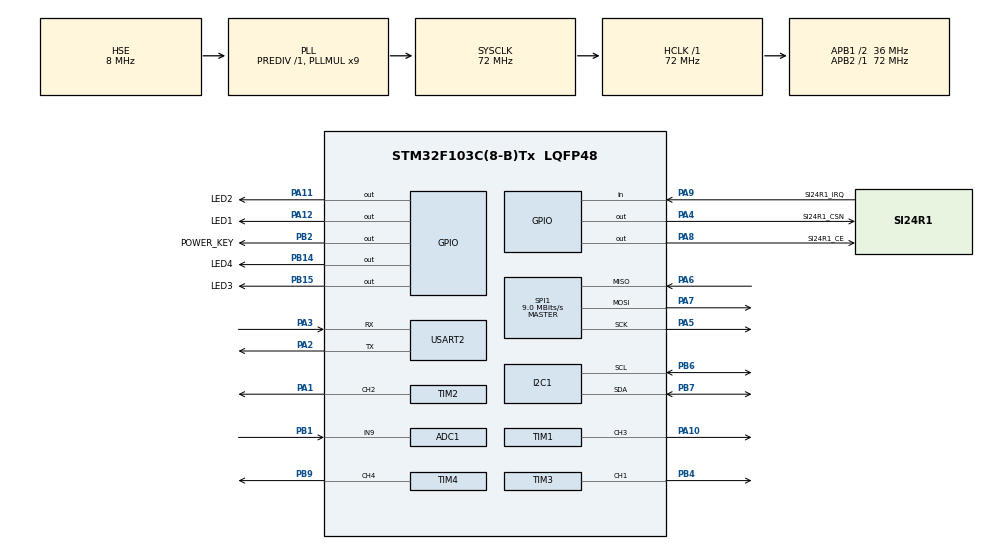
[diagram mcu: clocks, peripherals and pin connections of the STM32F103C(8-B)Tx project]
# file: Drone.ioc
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ADC1.Channel-0\#ChannelRegularConversion=ADC_CHANNEL_9
ADC1.ContinuousConvMode=ENABLE
ADC1.NbrOfConversionFlag=1
ADC1.Rank-0\#ChannelRegularConversion=1
ADC1.SamplingTime-0\#ChannelRegularConversion=ADC_SAMPLETIME_1CYCLE_5
ADC1.master=1
Dma.ADC1.0.Direction=DMA_PERIPH_TO_MEMORY
Dma.ADC1.0.Instance=DMA1_Channel1
Dma.ADC1.0.MemDataAlignment=DMA_MDATAALIGN_HALFWORD
Dma.ADC1.0.MemInc=DMA_MINC_ENABLE
Dma.ADC1.0.Mode=DMA_CIRCULAR
Dma.ADC1.0.PeriphDataAlignment=DMA_PDATAALIGN_HALFWORD
Dma.ADC1.0.PeriphInc=DMA_PINC_DISABLE
Dma.ADC1.0.Priority=DMA_PRIORITY_MEDIUM
Dma.Request0=ADC1
I2C1.I2C_Mode=I2C_Fast
Mcu.Family=STM32F1
Mcu.Name=STM32F103C(8-B)Tx
Mcu.Package=LQFP48
NVIC.PriorityGroup=NVIC_PRIORITYGROUP_4
PA1.Signal=S_TIM2_CH2
PA10.Signal=S_TIM1_CH3
PA11.GPIO_Label=LED2
PA11.GPIO_Speed=GPIO_SPEED_FREQ_HIGH
PA11.PinState=GPIO_PIN_SET
PA11.Signal=GPIO_Output
PA12.GPIO_Label=LED1
PA12.GPIO_Speed=GPIO_SPEED_FREQ_HIGH
PA12.PinState=GPIO_PIN_SET
PA12.Signal=GPIO_Output
PA13.Mode=Serial_Wire
PA13.Signal=SYS_JTMS-SWDIO
PA14.Mode=Serial_Wire
PA14.Signal=SYS_JTCK-SWCLK
PA2.Mode=Asynchronous
PA2.Signal=USART2_TX
PA3.Mode=Asynchronous
PA3.Signal=USART2_RX
PA4.GPIO_Label=SI24R1_CSN
PA4.GPIO_Speed=GPIO_SPEED_FREQ_HIGH
PA4.PinState=GPIO_PIN_SET
PA4.Signal=GPIO_Output
PA5.Mode=Full_Duplex_Master
PA5.Signal=SPI1_SCK
PA6.Mode=Full_Duplex_Master
PA6.Signal=SPI1_MISO
PA7.Mode=Full_Duplex_Master
PA7.Signal=SPI1_MOSI
PA8.GPIO_Label=SI24R1_CE
PA8.GPIO_Speed=GPIO_SPEED_FREQ_HIGH
PA8.PinState=GPIO_PIN_RESET
PA8.Signal=GPIO_Output
PA9.GPIO_Label=SI24R1_IRQ
PA9.GPIO_PuPd=GPIO_PULLUP
PA9.Signal=GPIO_Input
PB1.Signal=ADCx_IN9
PB14.GPIO_Label=LED4
PB14.GPIO_Speed=GPIO_SPEED_FREQ_HIGH
PB14.PinState=GPIO_PIN_SET
PB14.Signal=GPIO_Output
PB15.GPIO_Label=LED3
PB15.GPIO_Speed=GPIO_SPEED_FREQ_HIGH
PB15.PinState=GPIO_PIN_SET
PB15.Signal=GPIO_Output
PB2.GPIO_Label=POWER_KEY
PB2.GPIO_ModeDefaultOutputPP=GPIO_MODE_OUTPUT_OD
PB2.GPIO_PuPd=GPIO_NOPULL
PB2.GPIO_Speed=GPIO_SPEED_FREQ_HIGH
PB2.PinState=GPIO_PIN_SET
PB2.Signal=GPIO_Output
PB4.Signal=S_TIM3_CH1
PB6.Mode=I2C
PB6.Signal=I2C1_SCL
PB7.Mode=I2C
PB7.Signal=I2C1_SDA
PB9.Signal=S_TIM4_CH4
PD0-OSC_IN.Mode=HSE-External-Oscillator
PD0-OSC_IN.Signal=RCC_OSC_IN
PD1-OSC_OUT.Mode=HSE-External-Oscillator
PD1-OSC_OUT.Signal=RCC_OSC_OUT
ProjectManager.HeapSize=0x200
ProjectManager.StackSize=0x400
ProjectManager.TargetToolchain=MDK-ARM V5.32
RCC.ADCPresc=RCC_ADCPCLK2_DIV6
RCC.AHBFreq_Value=72000000
RCC.APB1CLKDivider=RCC_HCLK_DIV2
RCC.APB1Freq_Value=36000000
RCC.APB1TimFreq_Value=72000000
RCC.APB2Freq_Value=72000000
RCC.APB2TimFreq_Value=72000000
RCC.HCLKFreq_Value=72000000
RCC.PLLMUL=RCC_PLL_MUL9
RCC.PLLSourceVirtual=RCC_PLLSOURCE_HSE
RCC.SYSCLKFreq_VALUE=72000000
RCC.SYSCLKSource=RCC_SYSCLKSOURCE_PLLCLK
RCC.USBFreq_Value=72000000
SH.ADCx_IN9.0=ADC1_IN9,IN9
SH.S_TIM1_CH3.0=TIM1_CH3,PWM Generation3 CH3
SH.S_TIM2_CH2.0=TIM2_CH2,PWM Generation2 CH2
SH.S_TIM3_CH1.0=TIM3_CH1,PWM Generation1 CH1
SH.S_TIM4_CH4.0=TIM4_CH4,PWM Generation4 CH4
SPI1.BaudRatePrescaler=SPI_BAUDRATEPRESCALER_8
SPI1.CalculateBaudRate=9.0 MBits/s
SPI1.Direction=SPI_DIRECTION_2LINES
SPI1.Mode=SPI_MODE_MASTER
SPI1.VirtualType=VM_MASTER
TIM1.Channel-PWM\ Generation3\ CH3=TIM_CHANNEL_3
TIM1.OCPolarity_3=TIM_OCPOLARITY_HIGH
TIM1.Period=1000-1
TIM1.Prescaler=4-1
TIM2.Channel-PWM\ Generation2\ CH2=TIM_CHANNEL_2
TIM2.Period=1000-1
TIM2.Prescaler=4-1
TIM3.Channel-PWM\ Generation1\ CH1=TIM_CHANNEL_1
TIM3.Period=1000-1
TIM3.Prescaler=4-1
TIM4.Channel-PWM\ Generation4\ CH4=TIM_CHANNEL_4
TIM4.Period=1000-1
TIM4.Prescaler=4-1
USART2.VirtualMode=VM_ASYNC
VP_TIM1_VS_ClockSourceINT.Mode=Internal
board=custom

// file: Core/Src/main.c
/* USER CODE BEGIN Header */
/**
 ******************************************************************************
 * @file           : main.c
 * @brief          : Main program body
 ******************************************************************************
 * @attention
 *
 * Copyright (c) 2024 STMicroelectronics.
 * All rights reserved.
 *
 * This software is licensed under terms that can be found in the LICENSE file
 * in the root directory of this software component.
 * If no LICENSE file comes with this software, it is provided AS-IS.
 *
 ******************************************************************************
 */
/* USER CODE END Header */
#include "main.h"
#include "adc.h"
#include "dma.h"
#include "gpio.h"
#include "i2c.h"
#include "spi.h"
#include "tim.h"
#include "usart.h"

/* USER CODE BEGIN Includes */
#include "App_Flight.h"
#include "Com_IMU.h"
#include "Com_Logger.h"
#include "Int_IP5305T.h"
#include "Int_MPU6050.h"
#include "Int_Si24R1.h"
#include "string.h"
#include "App_Task.h"
/* USER CODE END Includes */

/* USER CODE BEGIN PV */
uint16_t batteryAdcValue;
/* USER CODE END PV */

void SystemClock_Config(void);

int main(void) {

    /* MCU Configuration--------------------------------------------------------*/

    /* Reset of all peripherals, Initializes the Flash interface and the Systick. */
    HAL_Init();

    /* Configure the system clock */
    SystemClock_Config();

    /* Initialize all configured peripherals */
    MX_GPIO_Init();
    MX_DMA_Init();
    MX_TIM1_Init();
    MX_TIM2_Init();
    MX_TIM3_Init();
    MX_TIM4_Init();
    MX_USART2_UART_Init();
    MX_ADC1_Init();
    MX_I2C1_Init();
    MX_SPI1_Init();
    /* USER CODE BEGIN 2 */
    Int_MPU6050_Init();
    App_Flight_MPUCalibrate();

    HAL_TIM_PWM_Start(&htim3, TIM_CHANNEL_1); // LEFT-0
    HAL_TIM_PWM_Start(&htim2, TIM_CHANNEL_2); // RIGHT-0
    HAL_TIM_PWM_Start(&htim4, TIM_CHANNEL_4); // LEFT-1
    HAL_TIM_PWM_Start(&htim1, TIM_CHANNEL_3); // RIGHT-1

    Int_SI24R1_Check();
    Int_SI24R1_InitRxMode();
    ledState.state = WARNING;

    FreeRTOS_Start();

    // LOG_DEBUG("before start adc with dma")
    // HAL_ADC_Start_DMA(&hadc1, (uint32_t *)&batteryAdcValue, 1);
    // LOG_DEBUG("after start adc with dma")

    // __HAL_TIM_SetCompare(&htim3, TIM_CHANNEL_1, 50);
    // __HAL_TIM_SetCompare(&htim2, TIM_CHANNEL_2, 50);
    // __HAL_TIM_SetCompare(&htim4, TIM_CHANNEL_4, 50);
    // __HAL_TIM_SetCompare(&htim1, TIM_CHANNEL_3, 50);
    // LOG_DEBUG("PWM set done");

    /* USER CODE END 2 */

    /* Infinite loop */
    /* USER CODE BEGIN WHILE */
    // ledState.state = WARNING;
    // uint8_t cnt = 0;
    while (1) {
        // HAL_Delay(100);
        // if (++cnt >= 10) {
        //     Int_IP5305T_Wakeup();
        //     cnt = 0;
        // }

        // App_Flight_RxRCDATA();
        // App_Flight_PilotLED();

        // strcpy(buf, "Hello, world!");
        // Int_SI24R1_TxPacket(buf);
        // HAL_Delay(500);

        // App_Flight_FetchMPUData();
        // GetAngle(&mpu6050, &flightAngle, 0.006);
        // LOG_DEBUG("pitch: %.1fdeg, roll: %.1fdeg, yaw: %.1fdeg", flightAngle.pitch,
        //           flightAngle.roll, flightAngle.yaw);
        // HAL_Delay(6);

        // float batteryVoltage = batteryAdcValue * 3.3 / 4096 * 2;
        // LOG_DEBUG("Battery voltage: %.2fV", batteryVoltage);
        // App_Flight_DetectBatVoltage();
        // HAL_Delay(1000);

        // Int_LED_Toggle(LED1_GPIO_Port, LED1_Pin);
        // Int_LED_Toggle(LED2_GPIO_Port, LED2_Pin);
        // Int_LED_Toggle(LED3_GPIO_Port, LED3_Pin);
        // Int_LED_Toggle(LED4_GPIO_Port, LED4_Pin);
        // HAL_Delay(1000);

        /* USER CODE END WHILE */

    }
}

void SystemClock_Config(void) {
    RCC_OscInitTypeDef RCC_OscInitStruct = {0};
    RCC_ClkInitTypeDef RCC_ClkInitStruct = {0};
    RCC_PeriphCLKInitTypeDef PeriphClkInit = {0};

    /** Initializes the RCC Oscillators according to the specified parameters
     * in the RCC_OscInitTypeDef structure.
     */
    RCC_OscInitStruct.OscillatorType = RCC_OSCILLATORTYPE_HSE;
    RCC_OscInitStruct.HSEState = RCC_HSE_ON;
    RCC_OscInitStruct.HSEPredivValue = RCC_HSE_PREDIV_DIV1;
    RCC_OscInitStruct.HSIState = RCC_HSI_ON;
    RCC_OscInitStruct.PLL.PLLState = RCC_PLL_ON;
    RCC_OscInitStruct.PLL.PLLSource = RCC_PLLSOURCE_HSE;
    RCC_OscInitStruct.PLL.PLLMUL = RCC_PLL_MUL9;
    if (HAL_RCC_OscConfig(&RCC_OscInitStruct) != HAL_OK) {
        Error_Handler();
    }

    /** Initializes the CPU, AHB and APB buses clocks
     */
    RCC_ClkInitStruct.ClockType =
        RCC_CLOCKTYPE_HCLK | RCC_CLOCKTYPE_SYSCLK | RCC_CLOCKTYPE_PCLK1 | RCC_CLOCKTYPE_PCLK2;
    RCC_ClkInitStruct.SYSCLKSource = RCC_SYSCLKSOURCE_PLLCLK;
    RCC_ClkInitStruct.AHBCLKDivider = RCC_SYSCLK_DIV1;
    RCC_ClkInitStruct.APB1CLKDivider = RCC_HCLK_DIV2;
    RCC_ClkInitStruct.APB2CLKDivider = RCC_HCLK_DIV1;

    if (HAL_RCC_ClockConfig(&RCC_ClkInitStruct, FLASH_LATENCY_2) != HAL_OK) {
        Error_Handler();
    }
    PeriphClkInit.PeriphClockSelection = RCC_PERIPHCLK_ADC;
    PeriphClkInit.AdcClockSelection = RCC_ADCPCLK2_DIV6;
    if (HAL_RCCEx_PeriphCLKConfig(&PeriphClkInit) != HAL_OK) {
        Error_Handler();
    }
}

void Error_Handler(void) {
    __disable_irq();
    while (1) {
    }
}
